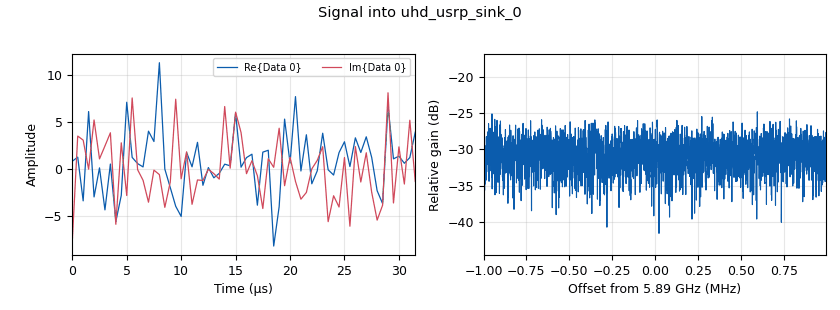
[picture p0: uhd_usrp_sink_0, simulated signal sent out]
<?xml version='1.0' encoding='utf-8'?>
<flow_graph>
<block>
<key>options</key>
<param><key>id</key><value>noise</value></param>
<param><key>generate_options</key><value>wx_gui</value></param>
<param><key>category</key><value>Custom</value></param>
</block>
<block>
<key>variable</key>
<param><key>id</key><value>samp_rate</value></param>
<param><key>value</key><value>2000000</value></param>
</block>
<block>
<key>blocks_null_source</key>
<param><key>id</key><value>blocks_null_source_0</value></param>
<param><key>type</key><value>complex</value></param>
<param><key>bus_conns</key><value>[[0,],]</value></param>
</block>
<block>
<key>variable_chooser</key>
<param><key>id</key><value>onoff</value></param>
<param><key>label</key><value></value></param>
<param><key>value</key><value>0</value></param>
<param><key>choices</key><value>[0, 1]</value></param>
<param><key>labels</key><value>['on', 'off']</value></param>
<param><key>type</key><value>radio_buttons</value></param>
<param><key>style</key><value>wx.RA_HORIZONTAL</value></param>
</block>
<block>
<key>blks2_selector</key>
<param><key>id</key><value>blks2_selector_0</value></param>
<param><key>type</key><value>complex</value></param>
<param><key>num_inputs</key><value>2</value></param>
<param><key>num_outputs</key><value>1</value></param>
<param><key>input_index</key><value>onoff</value></param>
<param><key>output_index</key><value>0</value></param>
<param><key>vlen</key><value>1</value></param>
</block>
<block>
<key>analog_fastnoise_source_x</key>
<param><key>id</key><value>analog_fastnoise_source_x_0</value></param>
<param><key>type</key><value>complex</value></param>
<param><key>noise_type</key><value>analog.GR_GAUSSIAN</value></param>
<param><key>amp</key><value>5</value></param>
<param><key>seed</key><value>0</value></param>
<param><key>samples</key><value>8192</value></param>
</block>
<block>
<key>uhd_usrp_sink</key>
<param><key>id</key><value>uhd_usrp_sink_0</value></param>
<param><key>type</key><value>fc32</value></param>
<param><key>dev_addr</key><value>"addr=192.168.10.4"</value></param>
<param><key>dev_args</key><value>""</value></param>
<param><key>sync</key><value></value></param>
<param><key>clock_rate</key><value>0.0</value></param>
<param><key>samp_rate</key><value>samp_rate</value></param>
<param><key>center_freq0</key><value>5890000000</value></param>
<param><key>gain0</key><value>30</value></param>
<param><key>csma_enable0</key><value>False</value></param>
<param><key>csma_slottime0</key><value>0</value></param>
<param><key>csma_threshold0</key><value>0</value></param>
<param><key>ant0</key><value></value></param>
<param><key>len_tag_name</key><value></value></param>
</block>
<connection><source_block_id>analog_fastnoise_source_x_0</source_block_id><sink_block_id>blks2_selector_0</sink_block_id><source_key>0</source_key><sink_key>0</sink_key></connection>
<connection><source_block_id>blocks_null_source_0</source_block_id><sink_block_id>blks2_selector_0</sink_block_id><source_key>0</source_key><sink_key>1</sink_key></connection>
<connection><source_block_id>blks2_selector_0</source_block_id><sink_block_id>uhd_usrp_sink_0</sink_block_id><source_key>0</source_key><sink_key>0</sink_key></connection>
</flow_graph>
